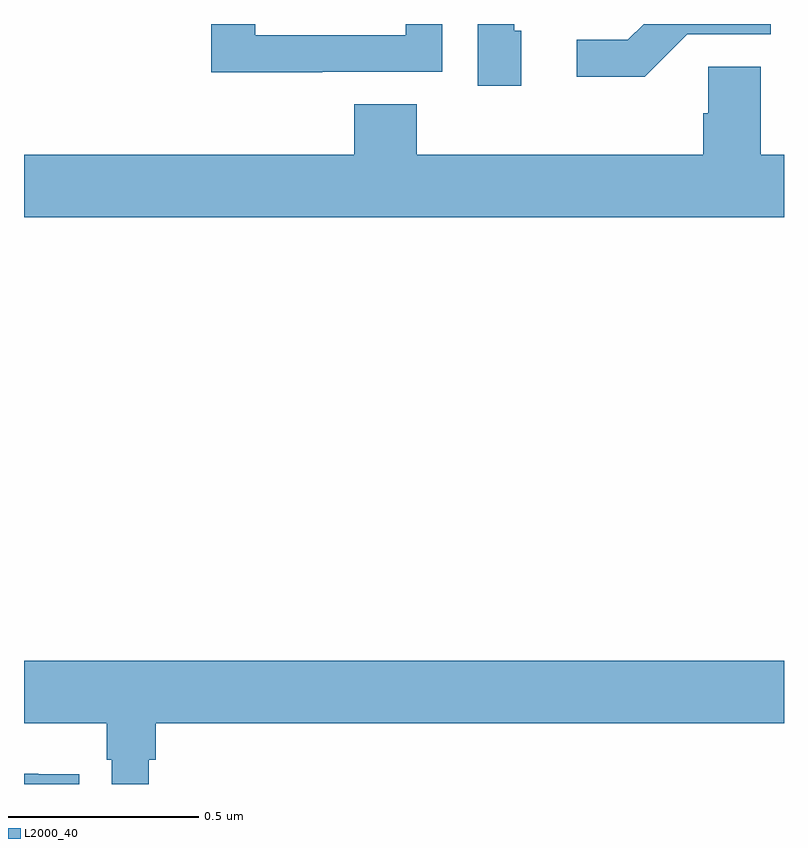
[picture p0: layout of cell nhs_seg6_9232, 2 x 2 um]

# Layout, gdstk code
import gdstk
lib = gdstk.Library(unit=1e-6, precision=1e-09)
def P(c, l, *ps):  # polygons
    for p in ps: c.add(gdstk.Polygon(p, *l))
L2000_40 = (2000, 40)

nhs_seg6_9232 = lib.new_cell('nhs_seg6_9232')
P(nhs_seg6_9232, L2000_40, [(232.746,958.473),(232.965,958.473),(232.965,958.5),(232.631,958.5),(232.589,958.458),(232.455,958.458),(232.455,958.361),(232.633,958.361)],
  [(232.309,958.482),(232.29,958.482),(232.29,958.5),(232.194,958.5),(232.194,958.338),(232.309,958.338)],
  [(231.785,958.374),(232.101,958.374),(232.101,958.5),(232.005,958.5),(232.005,958.47),(231.609,958.47),(231.609,958.5),(231.493,958.5),(231.493,958.373),(231.785,958.373)],
  [(233,958.156),(232.939,958.156),(232.939,958.388),(232.8,958.388),(232.8,958.265),(232.787,958.265),(232.787,958.156),(232.034,958.156),(232.034,958.289),(231.869,958.289),(231.869,958.156),(231,958.156),(231,957.992),(233,957.992)],
  [(231.328,956.564),(231.347,956.564),(231.347,956.66),(233,956.66),(233,956.824),(231,956.824),(231,956.66),(231.218,956.66),(231.218,956.564),(231.231,956.564),(231.231,956.5),(231.328,956.5)],
  [(231.146,956.526),(231.038,956.526),(231.038,956.527),(231,956.527),(231,956.5),(231.146,956.5)])

lib.write_gds('nhs_seg6_9232.gds')
